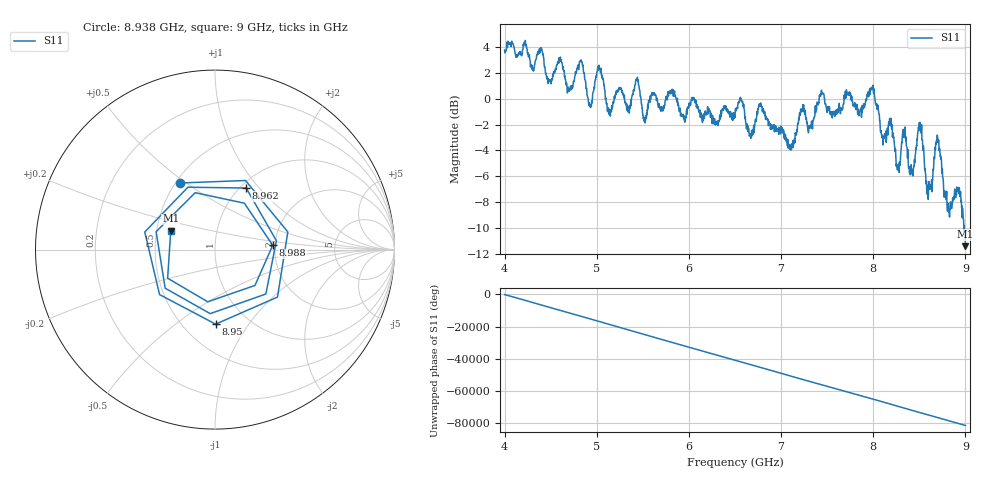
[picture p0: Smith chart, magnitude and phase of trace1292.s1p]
! Created with skrf 1.8.0 (http://scikit-rf.org).
# Hz S RI R 50.0
!freq ReS11 ImS11
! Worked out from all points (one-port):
!   1601 points, 4 GHz to 9 GHz, reference 50 ohm
!   lowest |S11| = -11.4 dB at 9 GHz (marker M1), VSWR 1.73, Z = 29.6 + j6.77 ohm
!   |S11| at or under -10 dB: 8.982932 GHz to 8.986495 GHz (3.563 MHz wide, 0.0397 % of centre); 8.988792 GHz to end of sweep
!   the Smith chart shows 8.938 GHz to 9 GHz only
!   S11 on the Smith chart (normalised r, x): 8.938 GHz: 0.52, +0.47; 8.95 GHz: 0.71, -0.71; 8.962 GHz: 1.06, +0.86; 8.988 GHz: 1.94, +0.10; 9 GHz: 0.59, +0.14
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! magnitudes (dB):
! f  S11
! 4 GHz  3.8
! 4.625 GHz  2.7
! 4.703 GHz  0.6
! 4.838 GHz  2.8
! 4.925 GHz  -0.4
! 5.022 GHz  2.5
! 5.134 GHz  -1.2
! 5.25 GHz  0.9
! 5.522 GHz  -1.7
! 5.875 GHz  0.0
! 6.5 GHz  -1.4
! 7.125 GHz  -3.4
! 7.225 GHz  -0.9
! 7.75 GHz  0.3
! 7.988 GHz  0.9
! 8.269 GHz  -5.2
! 8.331 GHz  -2.5
! 8.375 GHz  -3.9
! 8.425 GHz  -5.5
! 8.506 GHz  -1.8
! 8.597 GHz  -7.8
! 8.697 GHz  -2.9
! 8.809 GHz  -8.1
! 8.938 GHz  -7.5
! 8.95 GHz  -7.6
! 8.962 GHz  -8.3
! 8.988 GHz  -9.8
! 9 GHz  -11.4
